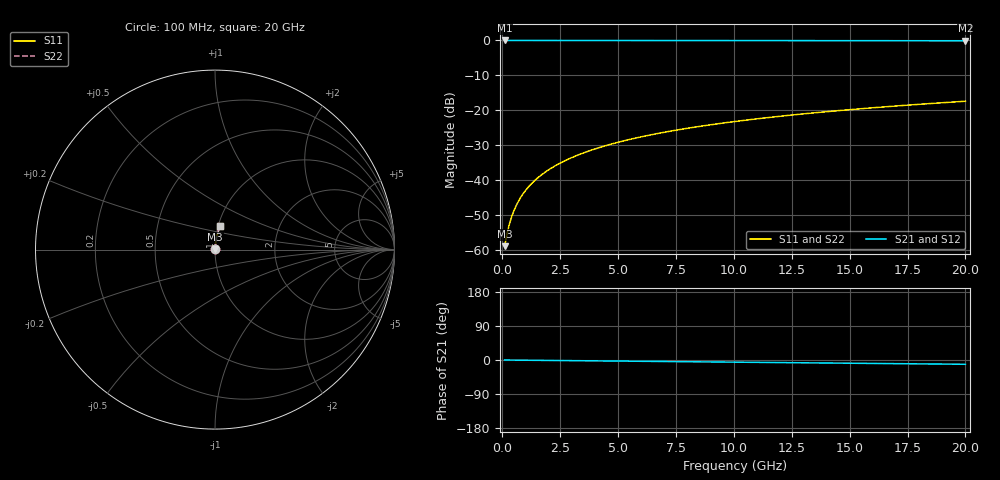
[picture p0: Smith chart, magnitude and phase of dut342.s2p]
! Touchstone file exported from HFSS 2026.1.0
!  File:  C:/ffzhzh/LocalFiles/Ansys_Project_Files/temp_train_TSV_342_1783018880_4048.aedt
!  Generated:  03:03:44 AM Jul  3, 2026
!  Design:  TSV
!  Project:  temp_train_TSV_342_1783018880_4048
! Variables:
!  h_bsmrdl = 2um
!  h_ox = 20um
!  h_rdl = 5um
!  h_sub = 75.61um
!  h_tmrdl = 5um
!  h_tsv = 75.61um
!  h_via = 3um
!  l_bsmrdl = 300um
!  l_sub = 406.34um
!  l_tmrdl = 200um
!  m_sub = 200um
!  pitch = 54.85um
!  r_tsv = 3.17um
!  s_tmrdl = 10um
!  w_bsmrdl = 18um
!  w_sub = 500um
!  w_tmrdl = 12um
!  x_tsv_center1 = 206um
!  x_tsv_center2 = 524um
!  x_tsv_center3 = 736um
!  x_tsv_center4 = 1054um
!  x_tsv_center5 = 1266um
!  x_tsv_center6 = 1584um
# GHz S MA R 50.000000
! Terminal data exported
! Port[1] = TSV1_1_T1
! Port[2] = TSV1_1_T2
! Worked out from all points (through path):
!   200 points, 100 MHz to 20 GHz, reference 50 ohm
!   highest |S21| = -0.01 dB at 100 MHz (marker M1); lowest = -0.1 dB at 20 GHz (marker M2)
!   group delay of S21, straight-line fit = 1.57 ps
!   lowest |S11| = -58.9 dB at 100 MHz (marker M3), VSWR 1.00, Z = 50.1 + j0.0713 ohm
!   |S11| at or under -10 dB: start of sweep to end of sweep
!   |S22| runs from -58.9 to -17.4 dB; largest |S21 - S12| = 4e-15
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0.1  0.001137 38.8  0.9991 -0.1  0.9991 -0.1  0.001137 38.8
! Gamma 0 0 0 0
! Port Impedance 50 0 50 0
0.2  0.00168 57.8  0.9991 -0.1  0.9991 -0.1  0.00168 57.8
0.3  0.002312 66.9  0.9991 -0.2  0.9991 -0.2  0.002312 66.9
0.4  0.002975 72.0  0.9991 -0.2  0.9991 -0.2  0.002975 72.0
0.5  0.003652 75.2  0.9991 -0.3  0.9991 -0.3  0.003652 75.2
0.6  0.004335 77.4  0.9991 -0.3  0.9991 -0.3  0.004335 77.4
0.8  0.005714 80.1  0.999 -0.5  0.999 -0.5  0.005714 80.1
1.1  0.007797 82.4  0.999 -0.6  0.999 -0.6  0.007797 82.4
1.5  0.01059 83.8  0.999 -0.9  0.999 -0.9  0.01059 83.8
1.8  0.01268 84.4  0.9989 -1.0  0.9989 -1.0  0.01268 84.4
2.1  0.01477 84.8  0.9989 -1.2  0.9989 -1.2  0.01477 84.8
2.7  0.01896 85.2  0.9987 -1.6  0.9987 -1.6  0.01896 85.2
3.5  0.02452 85.2  0.9985 -2.0  0.9985 -2.0  0.02452 85.2
4.2  0.02937 85.1  0.9983 -2.4  0.9983 -2.4  0.02937 85.1
5  0.03488 84.8  0.998 -2.9  0.998 -2.9  0.03488 84.8
5.9  0.04106 84.5  0.9976 -3.4  0.9976 -3.4  0.04106 84.5
6.8  0.04721 84.1  0.9972 -3.9  0.9972 -3.9  0.04721 84.1
8.3  0.0574 83.4  0.9965 -4.8  0.9965 -4.8  0.0574 83.4
10.1  0.06953 82.5  0.9955 -5.8  0.9955 -5.8  0.06953 82.5
13.4  0.09156 80.8  0.9933 -7.6  0.9933 -7.6  0.09156 80.8
16.7  0.1133 79.1  0.9908 -9.5  0.9908 -9.5  0.1133 79.1
20  0.1348 77.4  0.9879 -11.3  0.9879 -11.3  0.1348 77.4
